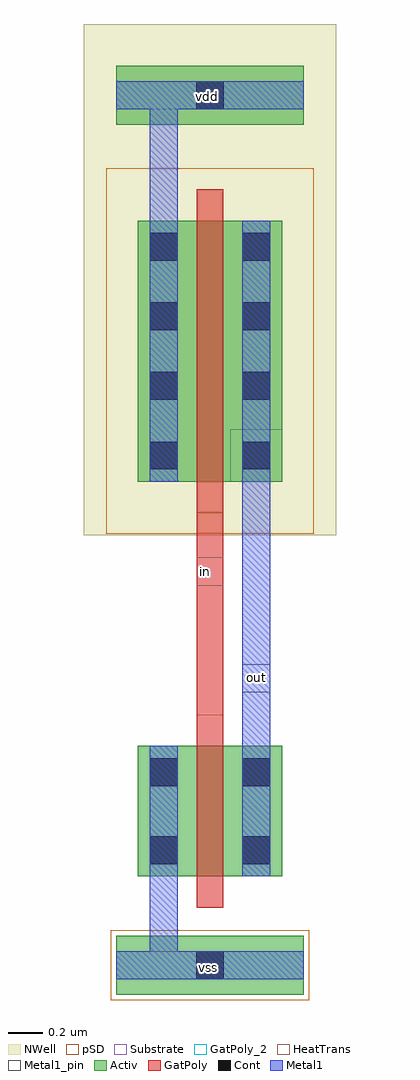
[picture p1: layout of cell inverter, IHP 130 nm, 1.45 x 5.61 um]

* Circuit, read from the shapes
.subckt inverter in out vdd vss
XM1 out in vss vss sg13_lv_nmos w=0.75u l=0.15u
XM2 out in vdd vdd sg13_lv_pmos w=1.5u l=0.15u
.ends

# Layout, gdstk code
import gdstk
lib = gdstk.Library(unit=1e-6, precision=5e-09)
def R(c, l, rs):  # rectangles x0, y0, x1, y1
    for r in rs: c.add(gdstk.rectangle(r[:2], r[2:], *l))
def A(c, l, x, y, w, h, nx, ny, dx, dy):  # array of equal rectangles
    R(c, l, [(x+i*dx, y+j*dy, x+i*dx+w, y+j*dy+h) for i in range(nx) for j in range(ny)])
Activ = (1, 0)
GatPoly = (5, 0)
GatPoly_2 = (5, 2)
Cont = (6, 0)
Metal1 = (8, 0)
Metal1_pin = (8, 2)
pSD = (14, 0)
NWell = (31, 0)
Substrate = (40, 0)
HeatTrans = (51, 0)

m1_cont1_pmos = lib.new_cell('M1_Cont1_PMOS')
R(m1_cont1_pmos, Activ, [(-0.535,-0.175,0.545,0.165)])
R(m1_cont1_pmos, Cont, [(-0.075,-0.085,0.085,0.075)])
R(m1_cont1_pmos, Metal1, [(-0.535,-0.085,0.545,0.075)])
R(m1_cont1_pmos, Metal1_pin, [(-0.535,-0.085,0.545,0.075)])
R(m1_cont1_pmos, NWell, [(-0.72,-0.415,0.73,0.405)])

m1_bulkcont1_pmos = lib.new_cell('M1_BulkCont1_PMOS')
r = gdstk.Reference(m1_cont1_pmos, (-0.015,-0.015)); r.repetition = gdstk.Repetition(1, 1, v1=(0,0), v2=(0,0)); m1_bulkcont1_pmos.add(r)

m1_cont1_nmos = lib.new_cell('M1_Cont1_NMOS')
R(m1_cont1_nmos, Activ, [(-0.53,-0.175,0.55,0.165)])
R(m1_cont1_nmos, Cont, [(-0.07,-0.085,0.09,0.075)])
R(m1_cont1_nmos, Metal1, [(-0.53,-0.085,0.55,0.075)])
R(m1_cont1_nmos, Metal1_pin, [(-0.53,-0.085,0.55,0.075)])
R(m1_cont1_nmos, pSD, [(-0.56,-0.205,0.58,0.195)])

m1_bulkcont1_nmos = lib.new_cell('M1_BulkCont1_NMOS')
r = gdstk.Reference(m1_cont1_nmos, (0.005,0.01)); r.repetition = gdstk.Repetition(1, 1, v1=(0,0), v2=(0,0)); m1_bulkcont1_nmos.add(r)

nmos_1 = lib.new_cell('nmos$1')
R(nmos_1, Activ, [(0,0,0.3,0.3), (0,0,0.83,0.75), (0.53,0,0.83,0.3)])
R(nmos_1, GatPoly, [(0.34,-0.18,0.49,0.93)])
R(nmos_1, GatPoly_2, [(0.34,-0.18,0.49,0.93)])
R(nmos_1, Cont, [(0.07,0.07,0.23,0.23), (0.6,0.07,0.76,0.23), (0.07,0.52,0.23,0.68), (0.6,0.52,0.76,0.68)])
R(nmos_1, Metal1, [(0.07,0,0.23,0.75), (0.6,0,0.76,0.75)])
R(nmos_1, Metal1_pin, [(0.07,0,0.23,0.75), (0.6,0,0.76,0.75)])
R(nmos_1, HeatTrans, [(0.34,-0.18,0.49,0.93)])
nmos_1.add(gdstk.Label('nmos', (0.415,0.375), layer=63, texttype=0))
nmos_1.add(gdstk.Label('nmos', (0.415,0.375), layer=51, texttype=0))

pmos_1_1 = lib.new_cell('pmos$1$1')
R(pmos_1_1, Activ, [(0,0,0.3,0.3), (0,0,0.83,1.5), (0.53,0,0.83,0.3)])
R(pmos_1_1, GatPoly, [(0.34,-0.18,0.49,1.68), (0.34,-0.18,0.49,1.68)])
A(pmos_1_1, Cont, 0.07, 0.07, 0.16, 0.16, 1, 4, 0, 0.4)
A(pmos_1_1, Cont, 0.6, 0.07, 0.16, 0.16, 1, 4, 0, 0.4)
R(pmos_1_1, Metal1, [(0.07,0,0.23,1.5), (0.07,0,0.23,1.5), (0.6,0,0.76,1.5), (0.6,0,0.76,1.5)])
R(pmos_1_1, pSD, [(-0.18,-0.3,1.01,1.8)])
R(pmos_1_1, NWell, [(-0.31,-0.31,1.14,1.81)])
R(pmos_1_1, Substrate, [(0.53,0,0.83,0.3)])
R(pmos_1_1, HeatTrans, [(0.34,-0.18,0.49,1.68)])
pmos_1_1.add(gdstk.Label('pmos', (0.415,0.75), layer=63, texttype=0))
pmos_1_1.add(gdstk.Label('pmos', (0.415,0.75), layer=51, texttype=0))

inverter = lib.new_cell('inverter')
R(inverter, GatPoly, [(-0.075,-1.72,0.075,0.805)])
R(inverter, GatPoly_2, [(-0.075,-0.425,0.075,-0.26)])
R(inverter, Cont, [(-0.08,-2.685,0.08,-2.525), (-0.08,2.315,0.08,2.475)])
R(inverter, Metal1, [(-0.345,-2.685,-0.185,-1.72), (0.185,-1.72,0.345,0.805), (-0.345,1.37,-0.185,2.475)])
R(inverter, Metal1_pin, [(-0.08,-2.685,0.08,-2.525), (0.185,-1.035,0.345,-0.875), (-0.08,2.315,0.08,2.475)])
inverter.add(gdstk.Reference(m1_bulkcont1_pmos, (0.01,2.415)))
inverter.add(gdstk.Reference(m1_bulkcont1_nmos, (-0.015,-2.61)))
inverter.add(gdstk.Reference(nmos_1, (-0.415,-2.095)))
inverter.add(gdstk.Reference(pmos_1_1, (-0.415,0.175)))
inverter.add(gdstk.Label('vdd', (-0.015,2.39), layer=8, texttype=2))
inverter.add(gdstk.Label('vss', (-0.01,-2.62), layer=8, texttype=2))
inverter.add(gdstk.Label('out', (0.27,-0.95), layer=8, texttype=2))
inverter.add(gdstk.Label('in', (-0.025,-0.34), layer=5, texttype=2))

lib.write_gds('inverter.gds')
